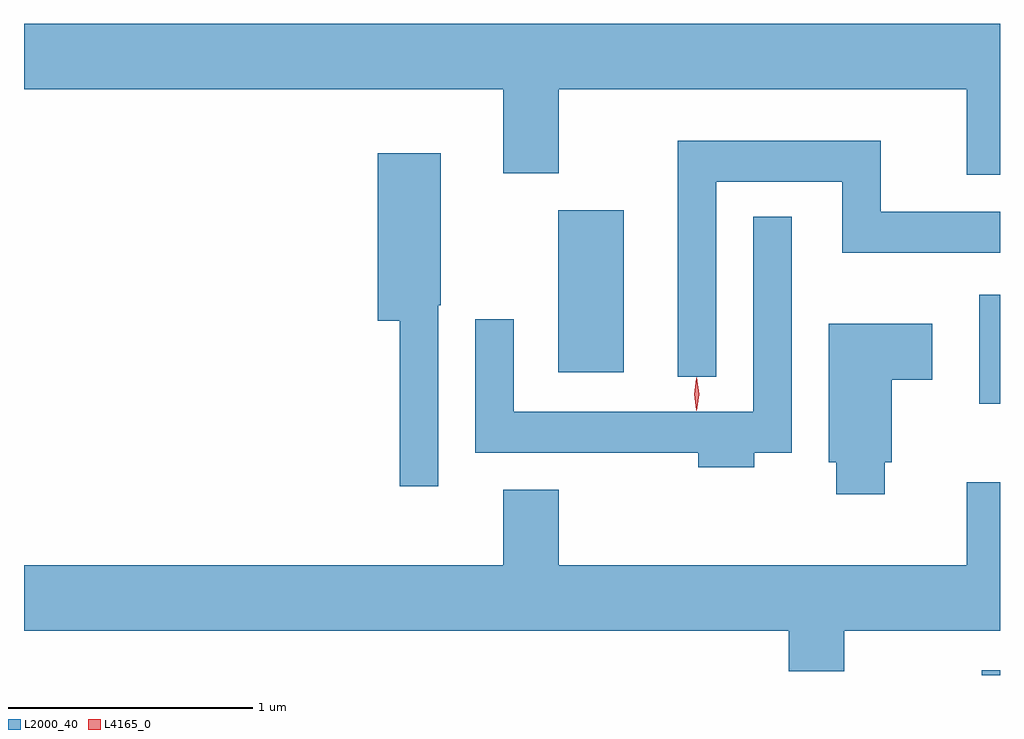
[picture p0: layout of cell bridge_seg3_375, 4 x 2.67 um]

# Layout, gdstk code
import gdstk
lib = gdstk.Library(unit=1e-6, precision=1e-09)
def R(c, l, rs):  # rectangles x0, y0, x1, y1
    for r in rs: c.add(gdstk.rectangle(r[:2], r[2:], *l))
def P(c, l, *ps):  # polygons
    for p in ps: c.add(gdstk.Polygon(p, *l))
L2000_40 = (2000, 40)
L4165_0 = (4165, 0)

bridge_seg3_375 = lib.new_cell('bridge_seg3_375')
R(bridge_seg3_375, L2000_40, [(528.913,1161.354,528.987,1161.374), (528.901,1162.466,528.987,1162.914), (527.176,1162.596,527.444,1163.259)])
P(bridge_seg3_375, L2000_40, [(528.987,1164.024),(524.987,1164.024),(524.987,1163.756),(526.951,1163.756),(526.951,1163.411),(527.179,1163.411),(527.179,1163.756),(528.851,1163.756),(528.851,1163.406),(528.987,1163.406)],
  [(527.824,1163.376),(528.341,1163.376),(528.341,1163.086),(528.987,1163.086),(528.987,1163.254),(528.499,1163.254),(528.499,1163.544),(527.666,1163.544),(527.666,1162.578),(527.824,1162.578)],
  [(526.684,1162.87),(526.694,1162.87),(526.694,1163.494),(526.436,1163.494),(526.436,1162.806),(526.526,1162.806),(526.526,1162.128),(526.684,1162.128)],
  [(527.979,1162.266),(528.134,1162.266),(528.134,1163.233),(527.976,1163.233),(527.976,1162.434),(526.994,1162.434),(526.994,1162.813),(526.836,1162.813),(526.836,1162.266),(527.751,1162.266),(527.751,1162.206),(527.979,1162.206)],
  [(528.514,1162.226),(528.544,1162.226),(528.544,1162.566),(528.709,1162.566),(528.709,1162.794),(528.286,1162.794),(528.286,1162.226),(528.316,1162.226),(528.316,1162.096),(528.514,1162.096)],
  [(528.349,1161.536),(528.987,1161.536),(528.987,1162.144),(528.851,1162.144),(528.851,1161.804),(527.179,1161.804),(527.179,1162.114),(526.951,1162.114),(526.951,1161.804),(524.987,1161.804),(524.987,1161.536),(528.121,1161.536),(528.121,1161.371),(528.349,1161.371)])
P(bridge_seg3_375, L4165_0, [(527.744,1162.439),(527.743,1162.44),(527.734,1162.506),(527.743,1162.572),(527.744,1162.573),(527.744,1162.572),(527.754,1162.506),(527.744,1162.44)],
  [(527.744,1162.437),(527.735,1162.506),(527.744,1162.576),(527.745,1162.576),(527.745,1162.576),(527.755,1162.506),(527.745,1162.437),(527.745,1162.437)])

lib.write_gds('bridge_seg3_375.gds')
